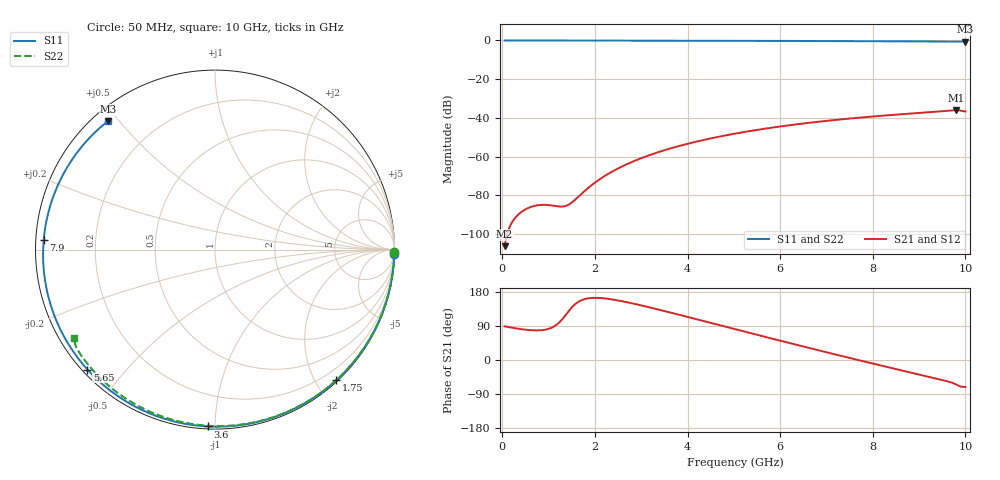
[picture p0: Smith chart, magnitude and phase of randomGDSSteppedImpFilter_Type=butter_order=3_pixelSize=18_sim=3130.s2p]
! freq	dB(S11)	phase(S11)	dB(S12)	phase(S12)
!  dB(S21)	phase(S21)	dB(S22)	phase(S22)
!S-par simulation data
#  GHz  S  DB  R 50
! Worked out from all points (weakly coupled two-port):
!   200 points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, 50 MHz to 10 GHz, reference 50 ohm
!   highest |S21| = -35.92 dB at 9.8 GHz (marker M1); lowest = -106.2 dB at 50 MHz (marker M2)
!   lowest |S11| = -0.6 dB at 10 GHz (marker M3), VSWR 28.33, Z = 2.15 + j23.4 ohm
!   |S11| at or under -10 dB: nowhere
!   |S22| runs from -0.7 to 0.0 dB; largest |S21 - S12| = 0
!   S11 on the Smith chart (normalised r, x): 50 MHz: 2, -86; 1.75 GHz: 0.02, -2.29; 3.6 GHz: 0.01, -0.96; 5.65 GHz: 0.01, -0.40; 7.9 GHz: 0.02, +0.03; 10 GHz: 0.04, +0.47
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0.05  -0.00 -1.3  -106.21 88.8  -106.21 88.8  -0.00 -0.8
0.45  -0.02 -12.4  -87.92 80.8  -87.92 80.8  -0.01 -7.7
0.8  -0.03 -21.9  -84.99 78.3  -84.99 78.3  -0.02 -13.6
1.2  -0.04 -32.7  -85.67 95.7  -85.67 95.7  -0.03 -20.3
1.65  -0.06 -44.6  -80.53 154.0  -80.53 154.0  -0.04 -27.8
1.75  -0.06 -47.2  -78.33 159.6  -78.33 159.6  -0.04 -29.5
2.1  -0.07 -56.1  -71.71 163.7  -71.71 163.7  -0.05 -35.2
2.45  -0.08 -64.9  -66.70 158.3  -66.70 158.3  -0.05 -40.9
2.9  -0.10 -75.9  -61.73 146.9  -61.73 146.9  -0.06 -48.1
3.4  -0.11 -87.7  -57.43 132.3  -57.43 132.3  -0.07 -56.0
3.6  -0.12 -92.4  -55.97 126.2  -55.97 126.2  -0.08 -59.1
4.3  -0.15 -108.1  -51.63 104.3  -51.63 104.3  -0.10 -69.8
5.05  -0.18 -124.2  -48.00 80.6  -48.00 80.6  -0.12 -80.9
5.65  -0.22 -136.8  -45.63 61.8  -45.63 61.8  -0.15 -89.5
6.2  -0.25 -148.1  -43.78 44.8  -43.78 44.8  -0.18 -97.3
6.7  -0.29 -158.3  -42.31 29.5  -42.31 29.5  -0.20 -104.2
7.3  -0.34 -170.6  -40.78 11.4  -40.78 11.4  -0.24 -112.3
7.9  -0.39 176.9  -39.46 -6.4  -39.46 -6.4  -0.29 -120.4
8.35  -0.44 167.3  -38.58 -19.6  -38.58 -19.6  -0.32 -126.4
9.1  -0.51 150.9  -37.28 -41.2  -37.28 -41.2  -0.40 -136.4
9.8  -0.59 134.6  -35.92 -64.7  -35.92 -64.7  -0.55 -146.4
10  -0.61 129.8  -36.62 -71.0  -36.62 -71.0  -0.67 -148.0
